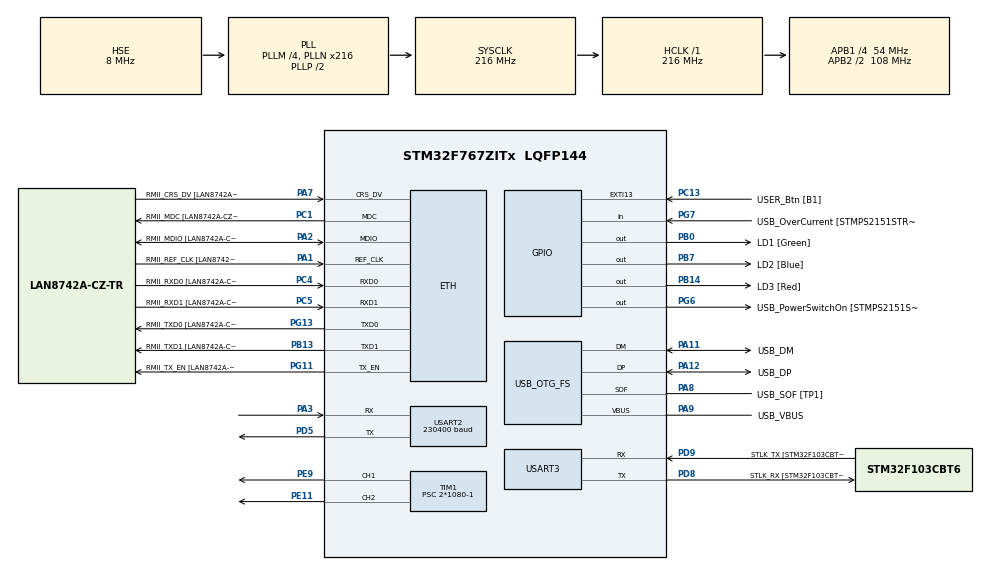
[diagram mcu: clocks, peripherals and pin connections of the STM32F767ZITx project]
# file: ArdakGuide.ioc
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Dma.Request0=USART2_RX
Dma.USART2_RX.0.Direction=DMA_PERIPH_TO_MEMORY
Dma.USART2_RX.0.FIFOMode=DMA_FIFOMODE_DISABLE
Dma.USART2_RX.0.Instance=DMA1_Stream5
Dma.USART2_RX.0.MemDataAlignment=DMA_MDATAALIGN_BYTE
Dma.USART2_RX.0.MemInc=DMA_MINC_ENABLE
Dma.USART2_RX.0.Mode=DMA_CIRCULAR
Dma.USART2_RX.0.PeriphDataAlignment=DMA_PDATAALIGN_BYTE
Dma.USART2_RX.0.PeriphInc=DMA_PINC_DISABLE
Dma.USART2_RX.0.Priority=DMA_PRIORITY_LOW
ETH.MediaInterface=HAL_ETH_RMII_MODE
ETH.PHY_Name=LAN8742A_PHY_ADDRESS
ETH.PHY_Value=0
ETH.PhyAddress=0
Mcu.Family=STM32F7
Mcu.Name=STM32F767ZITx
Mcu.Package=LQFP144
NVIC.DMA1_Stream5_IRQn=true\:0\:0\:false\:false\:true\:false\:true\:true
NVIC.PriorityGroup=NVIC_PRIORITYGROUP_4
NVIC.USART2_IRQn=true\:0\:0\:false\:false\:true\:true\:true\:true
PA1.GPIO_Label=RMII_REF_CLK [LAN8742A-CZ-TR_REFCLK0]
PA1.Mode=RMII
PA1.Signal=ETH_REF_CLK
PA10.GPIO_Label=USB_ID
PA10.Signal=USB_OTG_FS_ID
PA11.GPIO_Label=USB_DM
PA11.Mode=Device_Only
PA11.Signal=USB_OTG_FS_DM
PA12.GPIO_Label=USB_DP
PA12.Mode=Device_Only
PA12.Signal=USB_OTG_FS_DP
PA13.GPIO_Label=TMS
PA13.Mode=Serial_Wire
PA13.Signal=SYS_JTMS-SWDIO
PA14.GPIO_Label=TCK
PA14.Mode=Serial_Wire
PA14.Signal=SYS_JTCK-SWCLK
PA2.GPIO_Label=RMII_MDIO [LAN8742A-CZ-TR_MDIO]
PA2.Mode=RMII
PA2.Signal=ETH_MDIO
PA3.Mode=Asynchronous
PA3.Signal=USART2_RX
PA7.GPIO_Label=RMII_CRS_DV [LAN8742A-CZ-TR_CRS_DV]
PA7.Mode=RMII
PA7.Signal=ETH_CRS_DV
PA8.GPIO_Label=USB_SOF [TP1]
PA8.Mode=Activate_SOF_FS
PA8.Signal=USB_OTG_FS_SOF
PA9.GPIO_Label=USB_VBUS
PA9.Mode=Activate_VBUS
PA9.Signal=USB_OTG_FS_VBUS
PB0.GPIO_Label=LD1 [Green]
PB0.Signal=GPIO_Output
PB13.GPIO_Label=RMII_TXD1 [LAN8742A-CZ-TR_TXD1]
PB13.Mode=RMII
PB13.Signal=ETH_TXD1
PB14.GPIO_Label=LD3 [Red]
PB14.Signal=GPIO_Output
PB3.GPIO_Label=SWO
PB3.Signal=SYS_JTDO-SWO
PB7.GPIO_Label=LD2 [Blue]
PB7.Signal=GPIO_Output
PC1.GPIO_Label=RMII_MDC [LAN8742A-CZ-TR_MDC]
PC1.Mode=RMII
PC1.Signal=ETH_MDC
PC13.GPIO_Label=USER_Btn [B1]
PC13.Signal=GPXTI13
PC14/OSC32_IN.Mode=LSE-External-Oscillator
PC14/OSC32_IN.Signal=RCC_OSC32_IN
PC15/OSC32_OUT.Mode=LSE-External-Oscillator
PC15/OSC32_OUT.Signal=RCC_OSC32_OUT
PC4.GPIO_Label=RMII_RXD0 [LAN8742A-CZ-TR_RXD0]
PC4.Mode=RMII
PC4.Signal=ETH_RXD0
PC5.GPIO_Label=RMII_RXD1 [LAN8742A-CZ-TR_RXD1]
PC5.Mode=RMII
PC5.Signal=ETH_RXD1
PD5.Mode=Asynchronous
PD5.Signal=USART2_TX
PD8.GPIO_Label=STLK_RX [STM32F103CBT6_PA3]
PD8.Mode=Asynchronous
PD8.Signal=USART3_TX
PD9.GPIO_Label=STLK_TX [STM32F103CBT6_PA2]
PD9.Mode=Asynchronous
PD9.Signal=USART3_RX
PE11.Signal=S_TIM1_CH2
PE9.Signal=S_TIM1_CH1
PG11.GPIO_Label=RMII_TX_EN [LAN8742A-CZ-TR_TXEN]
PG11.Mode=RMII
PG11.Signal=ETH_TX_EN
PG13.GPIO_Label=RMII_TXD0 [LAN8742A-CZ-TR_TXD0]
PG13.Mode=RMII
PG13.Signal=ETH_TXD0
PG6.GPIO_Label=USB_PowerSwitchOn [STMPS2151STR_EN]
PG6.Signal=GPIO_Output
PG7.GPIO_Label=USB_OverCurrent [STMPS2151STR_FAULT]
PG7.Signal=GPIO_Input
PH0/OSC_IN.GPIO_Label=MCO [STM32F103CBT6_PA8]
PH0/OSC_IN.Mode=HSE-External-Clock-Source
PH0/OSC_IN.Signal=RCC_OSC_IN
PH1/OSC_OUT.Mode=HSE-External-Clock-Source
PH1/OSC_OUT.Signal=RCC_OSC_OUT
ProjectManager.HeapSize=0x200
ProjectManager.StackSize=0x400
ProjectManager.TargetToolchain=STM32CubeIDE
RCC.48MHZClocksFreq_Value=24000000
RCC.AHBFreq_Value=216000000
RCC.APB1CLKDivider=RCC_HCLK_DIV4
RCC.APB1Freq_Value=54000000
RCC.APB1TimFreq_Value=108000000
RCC.APB2CLKDivider=RCC_HCLK_DIV2
RCC.APB2Freq_Value=108000000
RCC.APB2TimFreq_Value=216000000
RCC.CortexFreq_Value=216000000
RCC.HCLKFreq_Value=216000000
RCC.HSE_VALUE=8000000
RCC.HSI_VALUE=16000000
RCC.PLLM=4
RCC.PLLMUL=RCC_PLL_MUL9
RCC.PLLN=216
RCC.PLLQ=9
RCC.PRESCALERUSB=RCC_USBCLKSOURCE_PLL_DIV1_5
RCC.SYSCLKFreq_VALUE=216000000
RCC.SYSCLKSource=RCC_SYSCLKSOURCE_PLLCLK
RCC.SYSCLKSourceVirtual=RCC_SYSCLKSOURCE_PLLCLK
RCC.USBFreq_Value=48000000
RCC.VCOOutputFreq_Value=432000000
SH.S_TIM1_CH1.0=TIM1_CH1,PWM Generation1 CH1
SH.S_TIM1_CH2.0=TIM1_CH2,PWM Generation2 CH2
TIM1.Channel-PWM\ Generation1\ CH1=TIM_CHANNEL_1
TIM1.Channel-PWM\ Generation2\ CH2=TIM_CHANNEL_2
TIM1.Period=999
TIM1.Prescaler=2*1080-1
USART2.BaudRate=230400
USART2.Mode=MODE_RX
USART2.VirtualMode-Asynchronous=VM_ASYNC
USART3.VirtualMode-Asynchronous=VM_ASYNC
USB_OTG_FS.VirtualMode=Device_Only
board=NUCLEO-F767ZI

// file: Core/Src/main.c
/* USER CODE BEGIN Header */
/**
  ******************************************************************************
  * @file           : main.c
  * @brief          : Main program body
  ******************************************************************************
  * @attention
  *
  * Copyright (c) 2023 STMicroelectronics.
  * All rights reserved.
  *
  * This software is licensed under terms that can be found in the LICENSE file
  * in the root directory of this software component.
  * If no LICENSE file comes with this software, it is provided AS-IS.
  *
  ******************************************************************************
  */
/* USER CODE END Header */
#include "main.h"
#include "string.h"

/* USER CODE BEGIN Includes */
static const uint8_t CrcTable[256] =
{
 0x00, 0x4d, 0x9a, 0xd7, 0x79, 0x34, 0xe3,
 0xae, 0xf2, 0xbf, 0x68, 0x25, 0x8b, 0xc6, 0x11, 0x5c, 0xa9, 0xe4, 0x33,
 0x7e, 0xd0, 0x9d, 0x4a, 0x07, 0x5b, 0x16, 0xc1, 0x8c, 0x22, 0x6f, 0xb8,
 0xf5, 0x1f, 0x52, 0x85, 0xc8, 0x66, 0x2b, 0xfc, 0xb1, 0xed, 0xa0, 0x77,
 0x3a, 0x94, 0xd9, 0x0e, 0x43, 0xb6, 0xfb, 0x2c, 0x61, 0xcf, 0x82, 0x55,
 0x18, 0x44, 0x09, 0xde, 0x93, 0x3d, 0x70, 0xa7, 0xea, 0x3e, 0x73, 0xa4,
 0xe9, 0x47, 0x0a, 0xdd, 0x90, 0xcc, 0x81, 0x56, 0x1b, 0xb5, 0xf8, 0x2f,
 0x62, 0x97, 0xda, 0x0d, 0x40, 0xee, 0xa3, 0x74, 0x39, 0x65, 0x28, 0xff,
 0xb2, 0x1c, 0x51, 0x86, 0xcb, 0x21, 0x6c, 0xbb, 0xf6, 0x58, 0x15, 0xc2,
 0x8f, 0xd3, 0x9e, 0x49, 0x04, 0xaa, 0xe7, 0x30, 0x7d, 0x88, 0xc5, 0x12,
 0x5f, 0xf1, 0xbc, 0x6b, 0x26, 0x7a, 0x37, 0xe0, 0xad, 0x03, 0x4e, 0x99,
 0xd4, 0x7c, 0x31, 0xe6, 0xab, 0x05, 0x48, 0x9f, 0xd2, 0x8e, 0xc3, 0x14,
 0x59, 0xf7, 0xba, 0x6d, 0x20, 0xd5, 0x98, 0x4f, 0x02, 0xac, 0xe1, 0x36,
 0x7b, 0x27, 0x6a, 0xbd, 0xf0, 0x5e, 0x13, 0xc4, 0x89, 0x63, 0x2e, 0xf9,
 0xb4, 0x1a, 0x57, 0x80, 0xcd, 0x91, 0xdc, 0x0b, 0x46, 0xe8, 0xa5, 0x72,
 0x3f, 0xca, 0x87, 0x50, 0x1d, 0xb3, 0xfe, 0x29, 0x64, 0x38, 0x75, 0xa2,
 0xef, 0x41, 0x0c, 0xdb, 0x96, 0x42, 0x0f, 0xd8, 0x95, 0x3b, 0x76, 0xa1,
 0xec, 0xb0, 0xfd, 0x2a, 0x67, 0xc9, 0x84, 0x53, 0x1e, 0xeb, 0xa6, 0x71,
 0x3c, 0x92, 0xdf, 0x08, 0x45, 0x19, 0x54, 0x83, 0xce, 0x60, 0x2d, 0xfa,
 0xb7, 0x5d, 0x10, 0xc7, 0x8a, 0x24, 0x69, 0xbe, 0xf3, 0xaf, 0xe2, 0x35,
 0x78, 0xd6, 0x9b, 0x4c, 0x01, 0xf4, 0xb9, 0x6e, 0x23, 0x8d, 0xc0, 0x17,
 0x5a, 0x06, 0x4b, 0x9c, 0xd1, 0x7f, 0x32, 0xe5, 0xa8
};
uint8_t CalCRC8(uint8_t *p, uint8_t len)
{
 uint8_t crc = 0;
 uint16_t i;
 for (i = 0; i < len; i++)
 {
 crc = CrcTable[(crc ^ *p++) & 0xff];
 }
 return crc;
}

/* USER CODE END Includes */

/* USER CODE BEGIN PTD */
typedef struct __attribute__ ((packed))//If we want to go faster we should consider not using packed
{                                      //Because when the address are multiples of their respective bit size it is appearantely easier for
	float angle;                       //The CPU to read it
	uint16_t distance;
	uint8_t confidence;
}LidarPointStructDef;

typedef struct __attribute__((packed))
{
uint8_t header;
uint8_t ver_len;
float speed;
float start_angle;
LidarPointStructDef point[12];
float end_angle;
uint16_t timestamp;
uint8_t crc8;
}LiDARFrameTypeDef;

LiDARFrameTypeDef L0;
/* USER CODE END PTD */

#if defined ( __ICCARM__ ) /*!< IAR Compiler */
#pragma location=0x2007c000
ETH_DMADescTypeDef  DMARxDscrTab[ETH_RX_DESC_CNT]; /* Ethernet Rx DMA Descriptors */
#pragma location=0x2007c0a0
ETH_DMADescTypeDef  DMATxDscrTab[ETH_TX_DESC_CNT]; /* Ethernet Tx DMA Descriptors */

#elif defined ( __CC_ARM )  /* MDK ARM Compiler */

__attribute__((at(0x2007c000))) ETH_DMADescTypeDef  DMARxDscrTab[ETH_RX_DESC_CNT]; /* Ethernet Rx DMA Descriptors */
__attribute__((at(0x2007c0a0))) ETH_DMADescTypeDef  DMATxDscrTab[ETH_TX_DESC_CNT]; /* Ethernet Tx DMA Descriptors */

#elif defined ( __GNUC__ ) /* GNU Compiler */
ETH_DMADescTypeDef DMARxDscrTab[ETH_RX_DESC_CNT] __attribute__((section(".RxDecripSection"))); /* Ethernet Rx DMA Descriptors */
ETH_DMADescTypeDef DMATxDscrTab[ETH_TX_DESC_CNT] __attribute__((section(".TxDecripSection")));   /* Ethernet Tx DMA Descriptors */

#endif

ETH_TxPacketConfig TxConfig;

ETH_HandleTypeDef heth;

TIM_HandleTypeDef htim1;

UART_HandleTypeDef huart2;
UART_HandleTypeDef huart3;
DMA_HandleTypeDef hdma_usart2_rx;

PCD_HandleTypeDef hpcd_USB_OTG_FS;

/* USER CODE BEGIN PV */
uint8_t lidar_temp_data=0;
uint8_t databuffer[47]={0};
uint8_t count =0;
//Notes: clock at 216 megahertz
//Circular reading means that the packet waiting in the buffer will get overwritten after the buffer gets another packet given.
/* USER CODE END PV */

void SystemClock_Config(void);
static void MX_GPIO_Init(void);
static void MX_DMA_Init(void);
static void MX_USART3_UART_Init(void);
static void MX_USB_OTG_FS_PCD_Init(void);
static void MX_USART2_UART_Init(void);
static void MX_ETH_Init(void);
static void MX_TIM1_Init(void);

/* USER CODE BEGIN 0 */
void HAL_UART_RxCpltCallback(UART_HandleTypeDef*huart){
	//c
	if (!databuffer[0] && lidar_temp_data == 0x54 ){

		databuffer[0]= lidar_temp_data;
		count++;
	}
	else if (count <=46 && databuffer[0]==0x54){
		//iterating through the data received and assigning it to the array
		databuffer[count]= lidar_temp_data;
		++count;
	}
}

void AssignVal(uint8_t arr[]){
	 LiDARFrameTypeDef lf = {0};
	 lf.header= arr[0];
	 lf.ver_len= arr[1];
	 lf.speed = ( arr[3]<<8 |arr[2]) /100;
	 lf.start_angle = (arr[5]<<8|arr[4])/100;
	 lf.end_angle = (arr[43]<<8 | arr[42])/100;
	 lf.timestamp = (arr[45]<<8|arr[44]);
	 lf.crc8 = arr[46];

	 float angle_step= (lf.end_angle - lf.start_angle)/(47-1);//potential problem
	 for (int i =0; i<12; ++i){
		 lf.point[i].angle = lf.start_angle + angle_step*(i);//gives the point an angle. like 310 + 2 = 312

		 lf.point[i].distance = (arr[8 + i * 3 - 1] << 8 | arr[8 + i * 3 - 2]);
		 lf.point[i].confidence = arr[8 + i * 3];

	 }
	 //potential problem
	 //saving the angle reading on the right side of the lidar assuming that i Can process other info quick enough
	 if (lf.start_angle>=84 && lf.end_angle<=96){
		 L0 = lf;//potential problem
	 }
	 else if (lf.start_angle>= 264 && lf.end_angle<=276)
	 {
		 MoveAlgorithm(L0,lf);
	 }

}

void MoveAlgorithm(LiDARFrameTypeDef L0,LiDARFrameTypeDef L1){
	//Approaching a right turn
	if (L0.point[0].distance - L1.point[11].distance > 50){
		TIM1->CCR2 = 160;
	}
	else if ( L1.point[11].distance - L0.point[0].distance > 50){
		TIM1->CCR2 = 140;
	}
	else {TIM1->CCR2 = 150;}
}
/* USER CODE END 0 */

int main(void)
{

  /* MCU Configuration--------------------------------------------------------*/

  /* Reset of all peripherals, Initializes the Flash interface and the Systick. */
  HAL_Init();

  /* Configure the system clock */
  SystemClock_Config();

  /* Initialize all configured peripherals */
  MX_GPIO_Init();
  MX_DMA_Init();
  MX_USART3_UART_Init();
  MX_USB_OTG_FS_PCD_Init();
  MX_USART2_UART_Init();
  MX_ETH_Init();
  MX_TIM1_Init();
  /* USER CODE BEGIN 2 */

  HAL_TIM_PWM_Start(&htim1, TIM_CHANNEL_1);//ESC
  HAL_TIM_PWM_Start(&htim1, TIM_CHANNEL_2);//SERVO
	TIM1->CCR1 = 160;

  /* USER CODE END 2 */

  /* Infinite loop */
  /* USER CODE BEGIN WHILE */
  while (1)
  {//Look at the parameters to let you know what you are receiving
	  if (count <= 46){
		  HAL_UART_Receive_DMA(&huart2,&lidar_temp_data,1);
	  }

	  else {
		  //Transmission is for us to see on the real term
		 // HAL_UART_Transmit(&huart3,(uint8_t*)databuffer,47,100);
          if (CalCRC8((uint8_t*)databuffer, count)== databuffer[46]){
        	  AssignVal(databuffer);
          }
	  }

    /* USER CODE END WHILE */

  }
}

void SystemClock_Config(void)
{
  RCC_OscInitTypeDef RCC_OscInitStruct = {0};
  RCC_ClkInitTypeDef RCC_ClkInitStruct = {0};

  /** Configure LSE Drive Capability
  */
  HAL_PWR_EnableBkUpAccess();

  /** Configure the main internal regulator output voltage
  */
  __HAL_RCC_PWR_CLK_ENABLE();
  __HAL_PWR_VOLTAGESCALING_CONFIG(PWR_REGULATOR_VOLTAGE_SCALE1);

  /** Initializes the RCC Oscillators according to the specified parameters
  * in the RCC_OscInitTypeDef structure.
  */
  RCC_OscInitStruct.OscillatorType = RCC_OSCILLATORTYPE_HSE;
  RCC_OscInitStruct.HSEState = RCC_HSE_BYPASS;
  RCC_OscInitStruct.PLL.PLLState = RCC_PLL_ON;
  RCC_OscInitStruct.PLL.PLLSource = RCC_PLLSOURCE_HSE;
  RCC_OscInitStruct.PLL.PLLM = 4;
  RCC_OscInitStruct.PLL.PLLN = 216;
  RCC_OscInitStruct.PLL.PLLP = RCC_PLLP_DIV2;
  RCC_OscInitStruct.PLL.PLLQ = 9;
  RCC_OscInitStruct.PLL.PLLR = 2;
  if (HAL_RCC_OscConfig(&RCC_OscInitStruct) != HAL_OK)
  {
    Error_Handler();
  }

  /** Activate the Over-Drive mode
  */
  if (HAL_PWREx_EnableOverDrive() != HAL_OK)
  {
    Error_Handler();
  }

  /** Initializes the CPU, AHB and APB buses clocks
  */
  RCC_ClkInitStruct.ClockType = RCC_CLOCKTYPE_HCLK|RCC_CLOCKTYPE_SYSCLK
                              |RCC_CLOCKTYPE_PCLK1|RCC_CLOCKTYPE_PCLK2;
  RCC_ClkInitStruct.SYSCLKSource = RCC_SYSCLKSOURCE_PLLCLK;
  RCC_ClkInitStruct.AHBCLKDivider = RCC_SYSCLK_DIV1;
  RCC_ClkInitStruct.APB1CLKDivider = RCC_HCLK_DIV4;
  RCC_ClkInitStruct.APB2CLKDivider = RCC_HCLK_DIV2;

  if (HAL_RCC_ClockConfig(&RCC_ClkInitStruct, FLASH_LATENCY_7) != HAL_OK)
  {
    Error_Handler();
  }
}

static void MX_ETH_Init(void)
{

   static uint8_t MACAddr[6];

  heth.Instance = ETH;
  MACAddr[0] = 0x00;
  MACAddr[1] = 0x80;
  MACAddr[2] = 0xE1;
  MACAddr[3] = 0x00;
  MACAddr[4] = 0x00;
  MACAddr[5] = 0x00;
  heth.Init.MACAddr = &MACAddr[0];
  heth.Init.MediaInterface = HAL_ETH_RMII_MODE;
  heth.Init.TxDesc = DMATxDscrTab;
  heth.Init.RxDesc = DMARxDscrTab;
  heth.Init.RxBuffLen = 1524;

  if (HAL_ETH_Init(&heth) != HAL_OK)
  {
    Error_Handler();
  }

  memset(&TxConfig, 0 , sizeof(ETH_TxPacketConfig));
  TxConfig.Attributes = ETH_TX_PACKETS_FEATURES_CSUM | ETH_TX_PACKETS_FEATURES_CRCPAD;
  TxConfig.ChecksumCtrl = ETH_CHECKSUM_IPHDR_PAYLOAD_INSERT_PHDR_CALC;
  TxConfig.CRCPadCtrl = ETH_CRC_PAD_INSERT;

}

static void MX_TIM1_Init(void)
{

  TIM_MasterConfigTypeDef sMasterConfig = {0};
  TIM_OC_InitTypeDef sConfigOC = {0};
  TIM_BreakDeadTimeConfigTypeDef sBreakDeadTimeConfig = {0};

  htim1.Instance = TIM1;
  htim1.Init.Prescaler = 2*1080-1;
  htim1.Init.CounterMode = TIM_COUNTERMODE_UP;
  htim1.Init.Period = 999;
  htim1.Init.ClockDivision = TIM_CLOCKDIVISION_DIV1;
  htim1.Init.RepetitionCounter = 0;
  htim1.Init.AutoReloadPreload = TIM_AUTORELOAD_PRELOAD_DISABLE;
  if (HAL_TIM_PWM_Init(&htim1) != HAL_OK)
  {
    Error_Handler();
  }
  sMasterConfig.MasterOutputTrigger = TIM_TRGO_RESET;
  sMasterConfig.MasterOutputTrigger2 = TIM_TRGO2_RESET;
  sMasterConfig.MasterSlaveMode = TIM_MASTERSLAVEMODE_DISABLE;
  if (HAL_TIMEx_MasterConfigSynchronization(&htim1, &sMasterConfig) != HAL_OK)
  {
    Error_Handler();
  }
  sConfigOC.OCMode = TIM_OCMODE_PWM1;
  sConfigOC.Pulse = 0;
  sConfigOC.OCPolarity = TIM_OCPOLARITY_HIGH;
  sConfigOC.OCNPolarity = TIM_OCNPOLARITY_HIGH;
  sConfigOC.OCFastMode = TIM_OCFAST_DISABLE;
  sConfigOC.OCIdleState = TIM_OCIDLESTATE_RESET;
  sConfigOC.OCNIdleState = TIM_OCNIDLESTATE_RESET;
  if (HAL_TIM_PWM_ConfigChannel(&htim1, &sConfigOC, TIM_CHANNEL_1) != HAL_OK)
  {
    Error_Handler();
  }
  if (HAL_TIM_PWM_ConfigChannel(&htim1, &sConfigOC, TIM_CHANNEL_2) != HAL_OK)
  {
    Error_Handler();
  }
  sBreakDeadTimeConfig.OffStateRunMode = TIM_OSSR_DISABLE;
  sBreakDeadTimeConfig.OffStateIDLEMode = TIM_OSSI_DISABLE;
  sBreakDeadTimeConfig.LockLevel = TIM_LOCKLEVEL_OFF;
  sBreakDeadTimeConfig.DeadTime = 0;
  sBreakDeadTimeConfig.BreakState = TIM_BREAK_DISABLE;
  sBreakDeadTimeConfig.BreakPolarity = TIM_BREAKPOLARITY_HIGH;
  sBreakDeadTimeConfig.BreakFilter = 0;
  sBreakDeadTimeConfig.Break2State = TIM_BREAK2_DISABLE;
  sBreakDeadTimeConfig.Break2Polarity = TIM_BREAK2POLARITY_HIGH;
  sBreakDeadTimeConfig.Break2Filter = 0;
  sBreakDeadTimeConfig.AutomaticOutput = TIM_AUTOMATICOUTPUT_DISABLE;
  if (HAL_TIMEx_ConfigBreakDeadTime(&htim1, &sBreakDeadTimeConfig) != HAL_OK)
  {
    Error_Handler();
  }
  HAL_TIM_MspPostInit(&htim1);

}

static void MX_USART2_UART_Init(void)
{

  huart2.Instance = USART2;
  huart2.Init.BaudRate = 230400;
  huart2.Init.WordLength = UART_WORDLENGTH_8B;
  huart2.Init.StopBits = UART_STOPBITS_1;
  huart2.Init.Parity = UART_PARITY_NONE;
  huart2.Init.Mode = UART_MODE_RX;
  huart2.Init.HwFlowCtl = UART_HWCONTROL_NONE;
  huart2.Init.OverSampling = UART_OVERSAMPLING_16;
  huart2.Init.OneBitSampling = UART_ONE_BIT_SAMPLE_DISABLE;
  huart2.AdvancedInit.AdvFeatureInit = UART_ADVFEATURE_NO_INIT;
  if (HAL_UART_Init(&huart2) != HAL_OK)
  {
    Error_Handler();
  }

}

static void MX_USART3_UART_Init(void)
{

  huart3.Instance = USART3;
  huart3.Init.BaudRate = 115200;
  huart3.Init.WordLength = UART_WORDLENGTH_8B;
  huart3.Init.StopBits = UART_STOPBITS_1;
  huart3.Init.Parity = UART_PARITY_NONE;
  huart3.Init.Mode = UART_MODE_TX_RX;
  huart3.Init.HwFlowCtl = UART_HWCONTROL_NONE;
  huart3.Init.OverSampling = UART_OVERSAMPLING_16;
  huart3.Init.OneBitSampling = UART_ONE_BIT_SAMPLE_DISABLE;
  huart3.AdvancedInit.AdvFeatureInit = UART_ADVFEATURE_NO_INIT;
  if (HAL_UART_Init(&huart3) != HAL_OK)
  {
    Error_Handler();
  }

}

static void MX_USB_OTG_FS_PCD_Init(void)
{

  hpcd_USB_OTG_FS.Instance = USB_OTG_FS;
  hpcd_USB_OTG_FS.Init.dev_endpoints = 6;
  hpcd_USB_OTG_FS.Init.speed = PCD_SPEED_FULL;
  hpcd_USB_OTG_FS.Init.dma_enable = DISABLE;
  hpcd_USB_OTG_FS.Init.phy_itface = PCD_PHY_EMBEDDED;
  hpcd_USB_OTG_FS.Init.Sof_enable = ENABLE;
  hpcd_USB_OTG_FS.Init.low_power_enable = DISABLE;
  hpcd_USB_OTG_FS.Init.lpm_enable = DISABLE;
  hpcd_USB_OTG_FS.Init.vbus_sensing_enable = ENABLE;
  hpcd_USB_OTG_FS.Init.use_dedicated_ep1 = DISABLE;
  if (HAL_PCD_Init(&hpcd_USB_OTG_FS) != HAL_OK)
  {
    Error_Handler();
  }

}

static void MX_DMA_Init(void)
{

  /* DMA controller clock enable */
  __HAL_RCC_DMA1_CLK_ENABLE();

  /* DMA interrupt init */
  /* DMA1_Stream5_IRQn interrupt configuration */
  HAL_NVIC_SetPriority(DMA1_Stream5_IRQn, 0, 0);
  HAL_NVIC_EnableIRQ(DMA1_Stream5_IRQn);

}

static void MX_GPIO_Init(void)
{
  GPIO_InitTypeDef GPIO_InitStruct = {0};

  /* GPIO Ports Clock Enable */
  __HAL_RCC_GPIOC_CLK_ENABLE();
  __HAL_RCC_GPIOH_CLK_ENABLE();
  __HAL_RCC_GPIOA_CLK_ENABLE();
  __HAL_RCC_GPIOB_CLK_ENABLE();
  __HAL_RCC_GPIOE_CLK_ENABLE();
  __HAL_RCC_GPIOD_CLK_ENABLE();
  __HAL_RCC_GPIOG_CLK_ENABLE();

  /*Configure GPIO pin Output Level */
  HAL_GPIO_WritePin(GPIOB, LD1_Pin|LD3_Pin|LD2_Pin, GPIO_PIN_RESET);

  /*Configure GPIO pin Output Level */
  HAL_GPIO_WritePin(USB_PowerSwitchOn_GPIO_Port, USB_PowerSwitchOn_Pin, GPIO_PIN_RESET);

  /*Configure GPIO pin : USER_Btn_Pin */
  GPIO_InitStruct.Pin = USER_Btn_Pin;
  GPIO_InitStruct.Mode = GPIO_MODE_IT_RISING;
  GPIO_InitStruct.Pull = GPIO_NOPULL;
  HAL_GPIO_Init(USER_Btn_GPIO_Port, &GPIO_InitStruct);

  /*Configure GPIO pins : LD1_Pin LD3_Pin LD2_Pin */
  GPIO_InitStruct.Pin = LD1_Pin|LD3_Pin|LD2_Pin;
  GPIO_InitStruct.Mode = GPIO_MODE_OUTPUT_PP;
  GPIO_InitStruct.Pull = GPIO_NOPULL;
  GPIO_InitStruct.Speed = GPIO_SPEED_FREQ_LOW;
  HAL_GPIO_Init(GPIOB, &GPIO_InitStruct);

  /*Configure GPIO pin : USB_PowerSwitchOn_Pin */
  GPIO_InitStruct.Pin = USB_PowerSwitchOn_Pin;
  GPIO_InitStruct.Mode = GPIO_MODE_OUTPUT_PP;
  GPIO_InitStruct.Pull = GPIO_NOPULL;
  GPIO_InitStruct.Speed = GPIO_SPEED_FREQ_LOW;
  HAL_GPIO_Init(USB_PowerSwitchOn_GPIO_Port, &GPIO_InitStruct);

  /*Configure GPIO pin : USB_OverCurrent_Pin */
  GPIO_InitStruct.Pin = USB_OverCurrent_Pin;
  GPIO_InitStruct.Mode = GPIO_MODE_INPUT;
  GPIO_InitStruct.Pull = GPIO_NOPULL;
  HAL_GPIO_Init(USB_OverCurrent_GPIO_Port, &GPIO_InitStruct);

}

void Error_Handler(void)
{
  __disable_irq();
  while (1)
  {
  }
}
